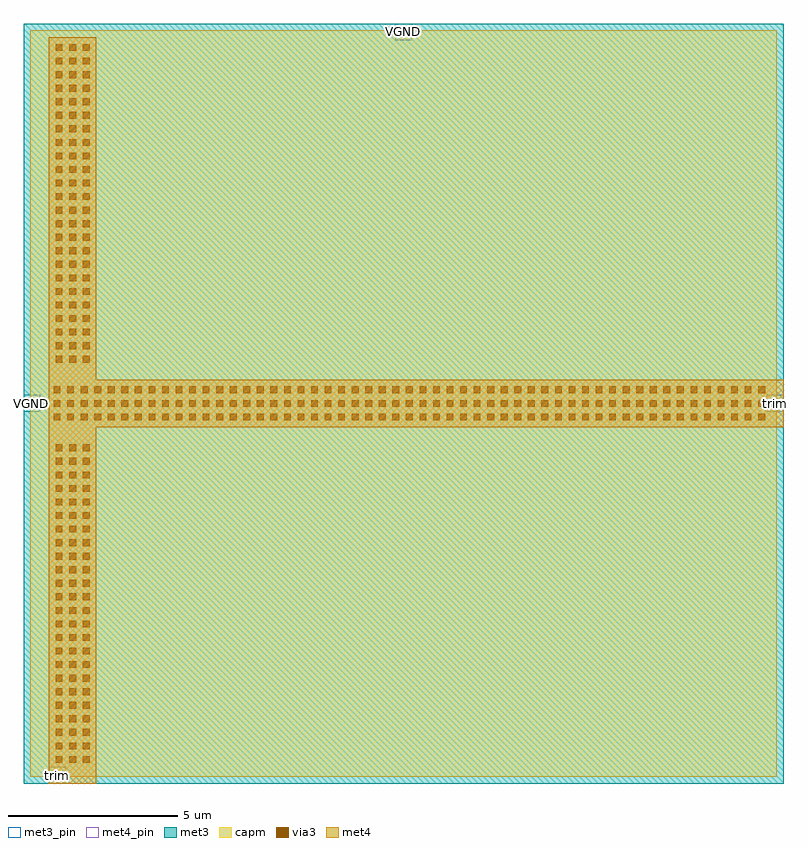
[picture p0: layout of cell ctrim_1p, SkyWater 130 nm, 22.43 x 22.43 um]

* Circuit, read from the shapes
.subckt ctrim_1p VGND trim
XC1 trim VGND sky130_fd_pr__cap_mim_m3_1 w=22.035 l=22.035
.ends

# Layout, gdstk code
import gdstk
lib = gdstk.Library(unit=1e-6, precision=1e-09)
def R(c, l, rs):  # rectangles x0, y0, x1, y1
    for r in rs: c.add(gdstk.rectangle(r[:2], r[2:], *l))
def A(c, l, x, y, w, h, nx, ny, dx, dy):  # array of equal rectangles
    R(c, l, [(x+i*dx, y+j*dy, x+i*dx+w, y+j*dy+h) for i in range(nx) for j in range(ny)])
met3_pin = (70, 16)
met3 = (70, 20)
via3 = (70, 44)
met4_pin = (71, 16)
met4 = (71, 20)
capm = (89, 44)

ctrim_1p = lib.new_cell('ctrim_1p')
R(ctrim_1p, met3_pin, [(0,10.97,0.5,11.47), (10.97,21.935,11.47,22.435)])
R(ctrim_1p, met3, [(0,0,22.435,22.435)])
A(ctrim_1p, via3, 0.95, 0.61, 0.2, 0.2, 3, 24, 0.4, 0.4)
A(ctrim_1p, via3, 0.89, 10.72, 0.2, 0.2, 53, 3, 0.4, 0.4)
A(ctrim_1p, via3, 0.95, 12.425, 0.2, 0.2, 3, 24, 0.4, 0.4)
R(ctrim_1p, met4_pin, [(0.75,0,1.25,0.5), (21.935,10.97,22.435,11.47)])
R(ctrim_1p, met4, [(0.75,0,2.15,22.035), (0.75,10.52,22.435,11.92)])
R(ctrim_1p, capm, [(0.2,0.2,22.235,22.235)])
ctrim_1p.add(gdstk.Label('trim', (1,0.25), layer=71, texttype=5))
ctrim_1p.add(gdstk.Label('trim', (22.185,11.22), layer=71, texttype=5))
ctrim_1p.add(gdstk.Label('VGND', (0.25,11.22), layer=70, texttype=5))
ctrim_1p.add(gdstk.Label('VGND', (11.22,22.185), layer=70, texttype=5))

lib.write_gds('ctrim_1p.gds')
